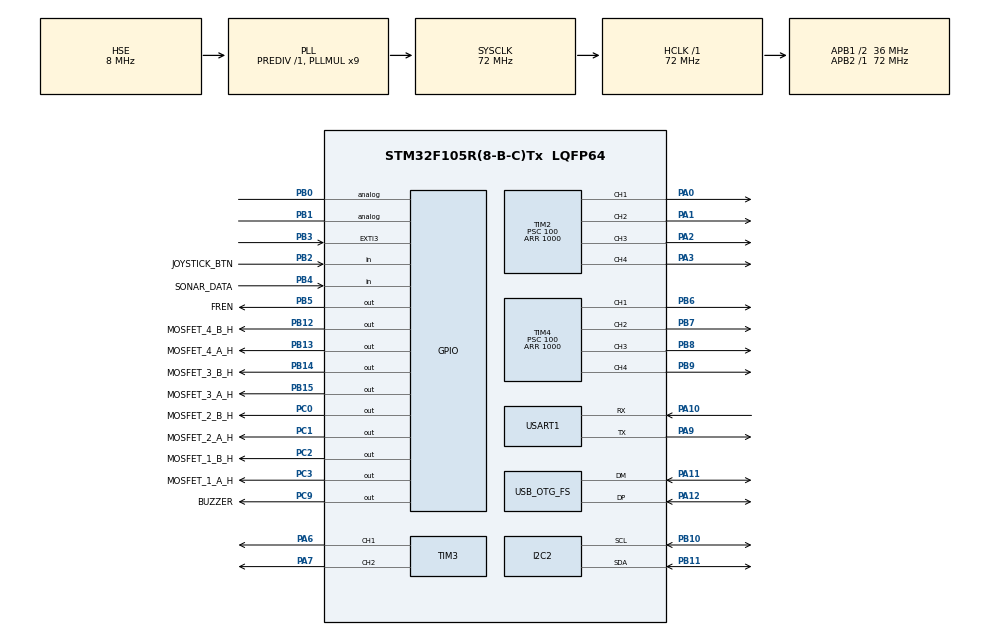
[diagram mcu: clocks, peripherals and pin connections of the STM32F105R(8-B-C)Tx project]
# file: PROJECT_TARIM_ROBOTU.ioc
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Mcu.Family=STM32F1
Mcu.Name=STM32F105R(8-B-C)Tx
Mcu.Package=LQFP64
NVIC.OTG_FS_IRQn=true\:0\:0\:false\:false\:true\:false\:true\:true
NVIC.PriorityGroup=NVIC_PRIORITYGROUP_4
PA0-WKUP.Signal=S_TIM2_CH1_ETR
PA1.Signal=S_TIM2_CH2
PA10.Mode=Asynchronous
PA10.Signal=USART1_RX
PA11.Mode=Device_Only
PA11.Signal=USB_OTG_FS_DM
PA12.Mode=Device_Only
PA12.Signal=USB_OTG_FS_DP
PA13.Mode=Serial_Wire
PA13.Signal=SYS_JTMS-SWDIO
PA14.Mode=Serial_Wire
PA14.Signal=SYS_JTCK-SWCLK
PA2.Signal=S_TIM2_CH3
PA3.Signal=S_TIM2_CH4
PA6.Signal=S_TIM3_CH1
PA7.Signal=S_TIM3_CH2
PA9.Mode=Asynchronous
PA9.Signal=USART1_TX
PB0.Signal=GPIO_Analog
PB1.Signal=GPIO_Analog
PB10.Mode=I2C
PB10.Signal=I2C2_SCL
PB11.Mode=I2C
PB11.Signal=I2C2_SDA
PB12.GPIO_Label=MOSFET_4_B_H
PB12.Signal=GPIO_Output
PB13.GPIO_Label=MOSFET_4_A_H
PB13.Signal=GPIO_Output
PB14.GPIO_Label=MOSFET_3_B_H
PB14.Signal=GPIO_Output
PB15.GPIO_Label=MOSFET_3_A_H
PB15.Signal=GPIO_Output
PB2.GPIO_Label=JOYSTICK_BTN
PB2.Signal=GPIO_Input
PB3.Signal=GPXTI3
PB4.GPIO_Label=SONAR_DATA
PB4.Signal=GPIO_Input
PB5.GPIO_Label=FREN
PB5.Signal=GPIO_Output
PB6.Signal=S_TIM4_CH1
PB7.Signal=S_TIM4_CH2
PB8.Signal=S_TIM4_CH3
PB9.Signal=S_TIM4_CH4
PC0.GPIO_Label=MOSFET_2_B_H
PC0.Signal=GPIO_Output
PC1.GPIO_Label=MOSFET_2_A_H
PC1.Signal=GPIO_Output
PC2.GPIO_Label=MOSFET_1_B_H
PC2.Signal=GPIO_Output
PC3.GPIO_Label=MOSFET_1_A_H
PC3.Signal=GPIO_Output
PC9.GPIO_Label=BUZZER
PC9.Signal=GPIO_Output
PD0-OSC_IN.Mode=HSE-External-Oscillator
PD0-OSC_IN.Signal=RCC_OSC_IN
PD1-OSC_OUT.Mode=HSE-External-Oscillator
PD1-OSC_OUT.Signal=RCC_OSC_OUT
ProjectManager.HeapSize=0x200
ProjectManager.StackSize=0x400
ProjectManager.TargetToolchain=STM32CubeIDE
RCC.AHBFreq_Value=72000000
RCC.APB1CLKDivider=RCC_HCLK_DIV2
RCC.APB1Freq_Value=36000000
RCC.APB1TimFreq_Value=72000000
RCC.APB2Freq_Value=72000000
RCC.APB2TimFreq_Value=72000000
RCC.HCLKFreq_Value=72000000
RCC.PLLMUL=RCC_PLL_MUL9
RCC.SYSCLKFreq_VALUE=72000000
RCC.SYSCLKSource=RCC_SYSCLKSOURCE_PLLCLK
RCC.USBFreq_Value=48000000
SH.S_TIM2_CH1_ETR.0=TIM2_CH1,PWM Generation1 CH1
SH.S_TIM2_CH2.0=TIM2_CH2,PWM Generation2 CH2
SH.S_TIM2_CH3.0=TIM2_CH3,PWM Generation3 CH3
SH.S_TIM2_CH4.0=TIM2_CH4,PWM Generation4 CH4
SH.S_TIM3_CH1.0=TIM3_CH1,PWM Generation1 CH1
SH.S_TIM3_CH2.0=TIM3_CH2,PWM Generation2 CH2
SH.S_TIM4_CH1.0=TIM4_CH1,PWM Generation1 CH1
SH.S_TIM4_CH2.0=TIM4_CH2,PWM Generation2 CH2
SH.S_TIM4_CH3.0=TIM4_CH3,PWM Generation3 CH3
SH.S_TIM4_CH4.0=TIM4_CH4,PWM Generation4 CH4
TIM2.AutoReloadPreload=TIM_AUTORELOAD_PRELOAD_ENABLE
TIM2.Channel-PWM\ Generation1\ CH1=TIM_CHANNEL_1
TIM2.Channel-PWM\ Generation2\ CH2=TIM_CHANNEL_2
TIM2.Channel-PWM\ Generation3\ CH3=TIM_CHANNEL_3
TIM2.Channel-PWM\ Generation4\ CH4=TIM_CHANNEL_4
TIM2.Period=1000
TIM2.Prescaler=100
TIM3.Channel-PWM\ Generation1\ CH1=TIM_CHANNEL_1
TIM3.Channel-PWM\ Generation2\ CH2=TIM_CHANNEL_2
TIM4.AutoReloadPreload=TIM_AUTORELOAD_PRELOAD_ENABLE
TIM4.Channel-PWM\ Generation1\ CH1=TIM_CHANNEL_1
TIM4.Channel-PWM\ Generation2\ CH2=TIM_CHANNEL_2
TIM4.Channel-PWM\ Generation3\ CH3=TIM_CHANNEL_3
TIM4.Channel-PWM\ Generation4\ CH4=TIM_CHANNEL_4
TIM4.Period=1000
TIM4.Prescaler=100
USART1.VirtualMode=VM_ASYNC
USB_DEVICE.CLASS_NAME_FS=CDC
USB_DEVICE.VirtualMode=Cdc
USB_DEVICE.VirtualModeFS=Cdc_FS
USB_OTG_FS.VirtualMode=Device_Only
VP_USB_DEVICE_VS_USB_DEVICE_CDC_FS.Mode=CDC_FS
board=custom

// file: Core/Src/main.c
/* USER CODE BEGIN Header */
/**
  ******************************************************************************
  * @file           : main.c
  * @brief          : Main program body
  ******************************************************************************
  * @attention
  *
  * Copyright (c) 2024 STMicroelectronics.
  * All rights reserved.
  *
  * This software is licensed under terms that can be found in the LICENSE file
  * in the root directory of this software component.
  * If no LICENSE file comes with this software, it is provided AS-IS.
  *
  ******************************************************************************
  */
/* USER CODE END Header */
#include "main.h"
#include "usb_device.h"

/* USER CODE BEGIN Includes */
#include "usbd_cdc_if.h"
#include <stdbool.h>
/* USER CODE END Includes */

I2C_HandleTypeDef hi2c2;

TIM_HandleTypeDef htim2;
TIM_HandleTypeDef htim3;
TIM_HandleTypeDef htim4;

UART_HandleTypeDef huart1;

void SystemClock_Config(void);
static void MX_GPIO_Init(void);
static void MX_TIM2_Init(void);
static void MX_TIM3_Init(void);
static void MX_TIM4_Init(void);
static void MX_I2C2_Init(void);
static void MX_USART1_UART_Init(void);
/* USER CODE BEGIN PFP */
uint16_t createModbusQuery(uint8_t slaveAddr, uint16_t startAddr, uint16_t registerCount, uint8_t *buffer);

void HAL_UART_RxCpltCallback(UART_HandleTypeDef *huart);

void printBuffer(uint8_t *buffer, uint16_t length, const char *label);
void CDC_Transmit_String(char* string);
uint16_t calculateCRC(uint8_t *buffer, uint16_t length);

/* USER CODE END PFP */

/* USER CODE BEGIN 0 */
#define MAX_PWM  300
#define CHIP_ID 0x00
#define ACCEL_DATA 0x08
#define BNO055_ID 0xa0
#define START_BYTE_WR 0xaa
#define START_BYTE_RESP 0xbb
#define READ 0x01
#define WRITE 0x00
#define OPER_MODE 0x3d
#define OPER_MODE_NDOF 0x0C
#define PWR_MODE 0x3e
#define PWR_MODE_NORMAL 0x00
#define PAGE_ID 0x07
#define SYS_TRIGGER 0x3f
#define UNIT_SEL 0x3b
#define AXIS_MAP_CONFIG 0x41
#define AXIS_MAP_SIGN 0x42

typedef struct {
    double kp;
    double ki;
    double kd;
    double integral;
    double prev_error;
} PIDController;

// Function to initialize the PIDController
void PIDController_init(PIDController *pid, double kp, double ki, double kd) {
    pid->kp = kp;
    pid->ki = ki;
    pid->kd = kd;
    pid->integral = 0.0;
    pid->prev_error = 0.0;
}

// Function to update the PIDController
double Controller_update(PIDController *pid, double actual, double target, double dt) {
    double error = target - actual;
    double derivative = (error - pid->prev_error) / dt;
    pid->integral += error * dt;
    pid->prev_error = error;

    // Calculate the control signal
    double control_signal = pid->kp * error + pid->ki * pid->integral + pid->kd * derivative;

    // Limit the change to a maximum adjustment per update for smooth transition
    double max_change = 1.0; // Define maximum change per update
    if (control_signal > max_change) {
        control_signal = max_change;
    } else if (control_signal < -max_change) {
        control_signal = -max_change;
    }

    // Update the actual value smoothly
    actual += control_signal;

    return actual;
}

static const uint16_t crcTable[256] = {
    // CRC16-Modbus table
    0x0000, 0xC0C1, 0xC181, 0x0140, 0xC301, 0x03C0, 0x0280, 0xC241,
    0xC601, 0x06C0, 0x0780, 0xC741, 0x0500, 0xC5C1, 0xC481, 0x0440,
    0xCC01, 0x0CC0, 0x0D80, 0xCD41, 0x0F00, 0xCFC1, 0xCE81, 0x0E40,
    0x0A00, 0xCAC1, 0xCB81, 0x0B40, 0xC901, 0x09C0, 0x0880, 0xC841,
    0xD801, 0x18C0, 0x1980, 0xD941, 0x1B00, 0xDBC1, 0xDA81, 0x1A40,
    0x1E00, 0xDEC1, 0xDF81, 0x1F40, 0xDD01, 0x1DC0, 0x1C80, 0xDC41,
    0x1400, 0xD4C1, 0xD581, 0x1540, 0xD701, 0x17C0, 0x1680, 0xD641,
    0xD201, 0x12C0, 0x1380, 0xD341, 0x1100, 0xD1C1, 0xD081, 0x1040,
    0xF001, 0x30C0, 0x3180, 0xF141, 0x3300, 0xF3C1, 0xF281, 0x3240,
    0x3600, 0xF6C1, 0xF781, 0x3740, 0xF501, 0x35C0, 0x3480, 0xF441,
    0x3C00, 0xFCC1, 0xFD81, 0x3D40, 0xFF01, 0x3FC0, 0x3E80, 0xFE41,
    0xFA01, 0x3AC0, 0x3B80, 0xFB41, 0x3900, 0xF9C1, 0xF881, 0x3840,
    0x2800, 0xE8C1, 0xE981, 0x2940, 0xEB01, 0x2BC0, 0x2A80, 0xEA41,
    0xEE01, 0x2EC0, 0x2F80, 0xEF41, 0x2D00, 0xEDC1, 0xEC81, 0x2C40,
    0xE401, 0x24C0, 0x2580, 0xE541, 0x2700, 0xE7C1, 0xE681, 0x2640,
    0x2200, 0xE2C1, 0xE381, 0x2340, 0xE101, 0x21C0, 0x2080, 0xE041,
    0xA001, 0x60C0, 0x6180, 0xA141, 0x6300, 0xA3C1, 0xA281, 0x6240,
    0x6600, 0xA6C1, 0xA781, 0x6740, 0xA501, 0x65C0, 0x6480, 0xA441,
    0x6C00, 0xACC1, 0xAD81, 0x6D40, 0xAF01, 0x6FC0, 0x6E80, 0xAE41,
    0xAA01, 0x6AC0, 0x6B80, 0xAB41, 0x6900, 0xA9C1, 0xA881, 0x6840,
    0x7800, 0xB8C1, 0xB981, 0x7940, 0xBB01, 0x7BC0, 0x7A80, 0xBA41,
    0xBE01, 0x7EC0, 0x7F80, 0xBF41, 0x7D00, 0xBDC1, 0xBC81, 0x7C40,
    0xB401, 0x74C0, 0x7580, 0xB541, 0x7700, 0xB7C1, 0xB681, 0x7640,
    0x7200, 0xB2C1, 0xB381, 0x7340, 0xB101, 0x71C0, 0x7080, 0xB041,
    0x5000, 0x90C1, 0x9181, 0x5140, 0x9301, 0x53C0, 0x5280, 0x9241,
    0x9601, 0x56C0, 0x5780, 0x9741, 0x5500, 0x95C1, 0x9481, 0x5440,
    0x9C01, 0x5CC0, 0x5D80, 0x9D41, 0x5F00, 0x9FC1, 0x9E81, 0x5E40,
    0x5A00, 0x9AC1, 0x9B81, 0x5B40, 0x9901, 0x59C0, 0x5880, 0x9841,
    0x8801, 0x48C0, 0x4980, 0x8941, 0x4B00, 0x8BC1, 0x8A81, 0x4A40,
    0x4E00, 0x8EC1, 0x8F81, 0x4F40, 0x8D01, 0x4DC0, 0x4C80, 0x8C41,
    0x4400, 0x84C1, 0x8581, 0x4540, 0x8701, 0x47C0, 0x4680, 0x8641,
    0x8201, 0x42C0, 0x4380, 0x8341, 0x4100, 0x81C1, 0x8081, 0x4040
};

typedef struct {
    uint16_t data[128];
} ModbusDevice;

ModbusDevice modbusDevices[15];
#define ROM_START_ADDRESS 0x08010000
#define PAGE_SIZE ((uint32_t)FLASH_PAGE_SIZE)
#define PACKET_SIZE sizeof(ModbusDevice)

/* CRC Calculation Function */
uint16_t calculateCRC(uint8_t *buffer, uint16_t length) {
    uint16_t crc = 0xFFFF;
    for (int i = 0; i < length; ++i) {
        crc = (crc >> 8) ^ crcTable[(crc & 0xFF) ^ buffer[i]];
    }
    return crc;
}

/* UART Receive Complete Callback */

/* Transmit String over USB CDC */
void CDC_Transmit_String(char* string) {
    CDC_Transmit_FS((uint8_t*)string, strlen(string));
}

uint16_t length = 0;
uint16_t function_code = 0;
uint8_t new_data_received = 0;
uint8_t fren = 0;
uint8_t motor = 0;
uint16_t value[4] = {0} ;
uint8_t number_of_bytes = 0;
uint16_t target_vel= 0;
uint16_t starting_address = 0;
uint8_t slave_address = 0;
uint16_t crc = 0xFFFF;
uint16_t default_pwm = 1005;
void CDC_ReceiveCallback(uint8_t *buf, uint32_t len) {
    // Callback function called when data is received over USB

    slave_address = buf[0];
    function_code = buf[1];
    starting_address = (buf[2] << 8) | buf[3];
    length = (buf[4] << 8) | buf[5];
    new_data_received = 1;
    crc = calculateCRC(buf, len);

    if (function_code == 16 && len >= 9 + length) {
    	number_of_bytes= buf[6];
        for (uint8_t i = 0; i < number_of_bytes; i+=2) {
            value[i/2] =(buf[7+i] << 8) | buf[8+i];
        }
    }
}

void initialize_device(uint8_t slave_address) {
    for (uint16_t i = 0; i < 300; i++) {
        modbusDevices[slave_address].data[i] = 0;
    }
}

void write_command(uint8_t slave_address, uint16_t starting_address, uint16_t length) {
	modbusDevices[slave_address].data[starting_address] = length;
	target_vel = length;
}
void write_multiple_command(uint8_t slave_address, uint16_t starting_address, uint16_t length, uint16_t* value) {
    for (uint16_t i = 0; i < number_of_bytes/2; i++) {
        modbusDevices[slave_address].data[starting_address + i] = value[i];
        //CDC_Transmit_FS(modbusDevices[slave_address].data, 10);
    }

}
void read_command(uint8_t slave_address, uint16_t starting_address, uint16_t length, uint16_t crc) {
    uint8_t response[128] = {0};
    uint8_t response_length = 3 + length * 2 + 2;
    if (starting_address + length <= 128) {
        response[0] = slave_address;
        response[1] = 0x03;
        response[2] = length * 2;

        for (uint8_t i = 0; i < length; i++) {
            response[3 + i * 2] = modbusDevices[slave_address].data[starting_address + i] >> 8;
            response[3 + i * 2 + 1] = modbusDevices[slave_address].data[starting_address + i] & 0xFF;
        }

        crc = calculateCRC(response, response_length - 2);
        response[response_length - 2] = crc & 0xFF;
        response[response_length - 1] = crc >> 8;

        CDC_Transmit_FS(response, response_length);
    }
}
uint16_t update_velocity(uint16_t current_velocity, uint16_t target_velocity, double alpha) {
    double current = (double)current_velocity;
    double target = (double)target_velocity;
    double updated = alpha * target + (1.0 - alpha) * current;

    // If the updated value is close enough to the target, set it to the target

    return (uint16_t)updated;
}

/*

OUTS
mosfet_1_A_H
mosfet_1_B_H
mosfet_2_A_H
mosfet_2_B_H
mosfet_3_A_H
mosfet_3_B_H
mosfet_4_A_H
mosfet_4_B_H

PWMS
mosfet_1_A_L	 Timer 2 Channel 1
mosfet_1_B_L	 Timer 2 Channel 2
mosfet_2_A_L	 Timer 2 Channel 3
mosfet_2_B_L	 Timer 2 Channel 4
mosfet_3_A_L	 Timer 4 Channel 1
mosfet_3_B_L	 Timer 4 Channel 2
mosfet_4_A_L	 Timer 4 Channel 3
mosfet_4_B_L	 Timer 4 Channel 4
*/

bool user_pwm_setvalue_mosfet4(int16_t new_target_value, int16_t limit) {
    static int16_t previous_value = 0;
    int16_t step_size = 2;

    new_target_value = modbusDevices[01].data[0] * 2 - limit;
    new_target_value = (new_target_value < limit) ? new_target_value : limit;
    new_target_value = (new_target_value > -limit) ? new_target_value : -limit;
    if(previous_value == new_target_value){
    	return false;
    }
    int16_t difference = new_target_value - previous_value;

    if (difference > step_size) {
        previous_value += step_size;
    } else if (difference < -step_size) {
        previous_value -= step_size;
    } else {
        previous_value = new_target_value;
    }

    if (modbusDevices[01].data[0] == 0) {
        previous_value = 0;
    }

    int16_t pwm_value = previous_value;
    pwm_value = (pwm_value < limit) ? pwm_value : limit;
    pwm_value = (pwm_value > -limit) ? pwm_value : -limit;

    if (pwm_value > 0) {
        HAL_GPIO_WritePin(MOSFET_4_A_H_GPIO_Port, MOSFET_4_A_H_Pin, 0);
        HAL_GPIO_WritePin(MOSFET_4_B_H_GPIO_Port, MOSFET_4_B_H_Pin, 1);
    } else if (pwm_value < 0) {
        HAL_GPIO_WritePin(MOSFET_4_A_H_GPIO_Port, MOSFET_4_A_H_Pin, 1);
        HAL_GPIO_WritePin(MOSFET_4_B_H_GPIO_Port, MOSFET_4_B_H_Pin, 0);
    } else {
        HAL_GPIO_WritePin(MOSFET_4_A_H_GPIO_Port, MOSFET_4_A_H_Pin, 0);
        HAL_GPIO_WritePin(MOSFET_4_B_H_GPIO_Port, MOSFET_4_B_H_Pin, 0);
    }

    TIM_OC_InitTypeDef sConfigOC;
    sConfigOC.OCMode = TIM_OCMODE_PWM1;
    sConfigOC.OCPolarity = TIM_OCPOLARITY_HIGH;
    sConfigOC.OCFastMode = TIM_OCFAST_DISABLE;
    sConfigOC.Pulse = (pwm_value > 0) ? default_pwm : -pwm_value;

    HAL_TIM_PWM_ConfigChannel(&htim4, &sConfigOC, TIM_CHANNEL_3);
    HAL_TIM_PWM_Start(&htim4, TIM_CHANNEL_3);

    TIM_OC_InitTypeDef sConfigOC2;
    sConfigOC2.OCMode = TIM_OCMODE_PWM1;
    sConfigOC2.OCPolarity = TIM_OCPOLARITY_HIGH;
    sConfigOC2.OCFastMode = TIM_OCFAST_DISABLE;
    sConfigOC2.Pulse = (pwm_value >= 0) ? pwm_value : default_pwm;

    HAL_TIM_PWM_ConfigChannel(&htim4, &sConfigOC2, TIM_CHANNEL_4);
    HAL_TIM_PWM_Start(&htim4, TIM_CHANNEL_4);

    modbusDevices[01].data[4] = pwm_value + 300;
    return previous_value != new_target_value;
}

bool user_pwm_setvalue_mosfet3(int16_t new_target_value, int16_t limit) {
    static int16_t previous_value = 0;
    int16_t step_size = 2;

    new_target_value = modbusDevices[01].data[1] * 2 - limit;
    new_target_value = (new_target_value < limit) ? new_target_value : limit;
    new_target_value = (new_target_value > -limit) ? new_target_value : -limit;
    if(previous_value == new_target_value){
        return false;
    }
    int16_t difference = new_target_value - previous_value;

    if (difference > step_size) {
        previous_value += step_size;
    } else if (difference < -step_size) {
        previous_value -= step_size;
    } else {
        previous_value = new_target_value;
    }

    if (modbusDevices[01].data[1] == 0) {
        previous_value = 0;
    }

    int16_t pwm_value = previous_value;
    pwm_value = (pwm_value < limit) ? pwm_value : limit;
    pwm_value = (pwm_value > -limit) ? pwm_value : -limit;

    if (pwm_value > 0) {
        HAL_GPIO_WritePin(MOSFET_3_A_H_GPIO_Port, MOSFET_3_A_H_Pin, 0);
        HAL_GPIO_WritePin(MOSFET_3_B_H_GPIO_Port, MOSFET_3_B_H_Pin, 1);
    } else if (pwm_value < 0) {
        HAL_GPIO_WritePin(MOSFET_3_A_H_GPIO_Port, MOSFET_3_A_H_Pin, 1);
        HAL_GPIO_WritePin(MOSFET_3_B_H_GPIO_Port, MOSFET_3_B_H_Pin, 0);
    } else {
        HAL_GPIO_WritePin(MOSFET_3_A_H_GPIO_Port, MOSFET_3_A_H_Pin, 0);
        HAL_GPIO_WritePin(MOSFET_3_B_H_GPIO_Port, MOSFET_3_B_H_Pin, 0);
    }

    TIM_OC_InitTypeDef sConfigOC;
    sConfigOC.OCMode = TIM_OCMODE_PWM1;
    sConfigOC.OCPolarity = TIM_OCPOLARITY_HIGH;
    sConfigOC.OCFastMode = TIM_OCFAST_DISABLE;
    sConfigOC.Pulse = (pwm_value > 0) ? default_pwm : -pwm_value;

    HAL_TIM_PWM_ConfigChannel(&htim4, &sConfigOC, TIM_CHANNEL_1);
    HAL_TIM_PWM_Start(&htim4, TIM_CHANNEL_1);

    TIM_OC_InitTypeDef sConfigOC2;
    sConfigOC2.OCMode = TIM_OCMODE_PWM1;
    sConfigOC2.OCPolarity = TIM_OCPOLARITY_HIGH;
    sConfigOC2.OCFastMode = TIM_OCFAST_DISABLE;
    sConfigOC2.Pulse = (pwm_value >= 0) ? pwm_value : default_pwm;

    HAL_TIM_PWM_ConfigChannel(&htim4, &sConfigOC2, TIM_CHANNEL_2);
    HAL_TIM_PWM_Start(&htim4, TIM_CHANNEL_2);

    modbusDevices[01].data[5] = pwm_value + 300;
    return previous_value != new_target_value;
}

bool user_pwm_setvalue_mosfet1(int16_t new_target_value, int16_t limit) {
    static int16_t previous_value = 0;
    int16_t step_size = 2;

    new_target_value = modbusDevices[01].data[3] * 2 - limit;
    new_target_value = (new_target_value < limit) ? new_target_value : limit;
    new_target_value = (new_target_value > -limit) ? new_target_value : -limit;
    if(previous_value == new_target_value){
        return false;
    }
    int16_t difference = new_target_value - previous_value;

    if (difference > step_size) {
        previous_value += step_size;
    } else if (difference < -step_size) {
        previous_value -= step_size;
    } else {
        previous_value = new_target_value;
    }

    if (modbusDevices[01].data[3] == 0) {
        previous_value = 0;
    }

    int16_t pwm_value = previous_value;
    pwm_value = (pwm_value < limit) ? pwm_value : limit;
    pwm_value = (pwm_value > -limit) ? pwm_value : -limit;

    if (pwm_value > 0) {
        HAL_GPIO_WritePin(MOSFET_1_A_H_GPIO_Port, MOSFET_1_A_H_Pin, 0);
        HAL_GPIO_WritePin(MOSFET_1_B_H_GPIO_Port, MOSFET_1_B_H_Pin, 1);
    } else if (pwm_value < 0) {
        HAL_GPIO_WritePin(MOSFET_1_A_H_GPIO_Port, MOSFET_1_A_H_Pin, 1);
        HAL_GPIO_WritePin(MOSFET_1_B_H_GPIO_Port, MOSFET_1_B_H_Pin, 0);
    } else {
        HAL_GPIO_WritePin(MOSFET_1_A_H_GPIO_Port, MOSFET_1_A_H_Pin, 0);
        HAL_GPIO_WritePin(MOSFET_1_B_H_GPIO_Port, MOSFET_1_B_H_Pin, 0);
    }

    TIM_OC_InitTypeDef sConfigOC;
    sConfigOC.OCMode = TIM_OCMODE_PWM1;
    sConfigOC.OCPolarity = TIM_OCPOLARITY_HIGH;
    sConfigOC.OCFastMode = TIM_OCFAST_DISABLE;
    sConfigOC.Pulse = (pwm_value > 0) ? default_pwm : -pwm_value;

    HAL_TIM_PWM_ConfigChannel(&htim2, &sConfigOC, TIM_CHANNEL_1);
    HAL_TIM_PWM_Start(&htim2, TIM_CHANNEL_1);

    TIM_OC_InitTypeDef sConfigOC2;
    sConfigOC2.OCMode = TIM_OCMODE_PWM1;
    sConfigOC2.OCPolarity = TIM_OCPOLARITY_HIGH;
    sConfigOC2.OCFastMode = TIM_OCFAST_DISABLE;
    sConfigOC2.Pulse = (pwm_value >= 0) ? pwm_value : default_pwm;

    HAL_TIM_PWM_ConfigChannel(&htim2, &sConfigOC2, TIM_CHANNEL_2);
    HAL_TIM_PWM_Start(&htim2, TIM_CHANNEL_2);

    modbusDevices[01].data[7] = pwm_value + 300;
    return previous_value != new_target_value;
}

bool user_pwm_setvalue_mosfet2(int16_t new_target_value, int16_t limit) {
    static int16_t previous_value = 0;
    int16_t step_size = 2;

    new_target_value = modbusDevices[01].data[2] * 2 - limit;
    new_target_value = (new_target_value < limit) ? new_target_value : limit;
    new_target_value = (new_target_value > -limit) ? new_target_value : -limit;
    if(previous_value == new_target_value){
        return false;
    }
    int16_t difference = new_target_value - previous_value;

    if (difference > step_size) {
        previous_value += step_size;
    } else if (difference < -step_size) {
        previous_value -= step_size;
    } else {
        previous_value = new_target_value;
    }

    if (modbusDevices[01].data[2] == 0) {
        previous_value = 0;
    }

    int16_t pwm_value = previous_value;
    pwm_value = (pwm_value < limit) ? pwm_value : limit;
    pwm_value = (pwm_value > -limit) ? pwm_value : -limit;

    if (pwm_value > 0) {
        HAL_GPIO_WritePin(MOSFET_2_A_H_GPIO_Port, MOSFET_2_A_H_Pin, 0);
        HAL_GPIO_WritePin(MOSFET_2_B_H_GPIO_Port, MOSFET_2_B_H_Pin, 1);
    } else if (pwm_value < 0) {
        HAL_GPIO_WritePin(MOSFET_2_A_H_GPIO_Port, MOSFET_2_A_H_Pin, 1);
        HAL_GPIO_WritePin(MOSFET_2_B_H_GPIO_Port, MOSFET_2_B_H_Pin, 0);
    } else {
        HAL_GPIO_WritePin(MOSFET_2_A_H_GPIO_Port, MOSFET_2_A_H_Pin, 0);
        HAL_GPIO_WritePin(MOSFET_2_B_H_GPIO_Port, MOSFET_2_B_H_Pin, 0);
    }

    TIM_OC_InitTypeDef sConfigOC;
    sConfigOC.OCMode = TIM_OCMODE_PWM1;
    sConfigOC.OCPolarity = TIM_OCPOLARITY_HIGH;
    sConfigOC.OCFastMode = TIM_OCFAST_DISABLE;
    sConfigOC.Pulse = (pwm_value > 0) ? default_pwm : -pwm_value;

    HAL_TIM_PWM_ConfigChannel(&htim2, &sConfigOC, TIM_CHANNEL_3);
    HAL_TIM_PWM_Start(&htim2, TIM_CHANNEL_3);

    TIM_OC_InitTypeDef sConfigOC2;
    sConfigOC2.OCMode = TIM_OCMODE_PWM1;
    sConfigOC2.OCPolarity = TIM_OCPOLARITY_HIGH;
    sConfigOC2.OCFastMode = TIM_OCFAST_DISABLE;
    sConfigOC2.Pulse = (pwm_value >= 0) ? pwm_value : default_pwm;

    HAL_TIM_PWM_ConfigChannel(&htim2, &sConfigOC2, TIM_CHANNEL_4);
    HAL_TIM_PWM_Start(&htim2, TIM_CHANNEL_4);

    modbusDevices[01].data[6] = pwm_value + 300;
    return previous_value != new_target_value;
}

/* USER CODE END 0 */

int main(void)
{

  /* MCU Configuration--------------------------------------------------------*/

  /* Reset of all peripherals, Initializes the Flash interface and the Systick. */
  HAL_Init();

  /* Configure the system clock */
  SystemClock_Config();

  /* Initialize all configured peripherals */
  MX_GPIO_Init();
  MX_TIM2_Init();
  MX_TIM3_Init();
  MX_TIM4_Init();
  MX_I2C2_Init();
  MX_USART1_UART_Init();
  MX_USB_DEVICE_Init();
  /* USER CODE BEGIN 2 */
  initialize_device(1);
  PIDController controller;
  PIDController_init(&controller, 2.5, 0.1, 0.01);
  uint8_t velocity= 0;
  uint16_t limit= 600;
  HAL_GPIO_WritePin(FREN_GPIO_Port, FREN_Pin, 1);
  fren = 1;
  /* USER CODE END 2 */

  /* Infinite loop */
  /* USER CODE BEGIN WHILE */

  while (1) {//loopp

	  //velocity = update_vexlocity(velocity, target_vel, alpha);
	  //HAL_Delay(100);

	  user_pwm_setvalue_mosfet1(velocity,limit);
	  user_pwm_setvalue_mosfet2(velocity,limit);
	  user_pwm_setvalue_mosfet3(velocity,limit);
	  user_pwm_setvalue_mosfet4(velocity,limit);
      if (new_data_received) {
    	  if(function_code == 6) {
    		  write_command(slave_address, starting_address, length);
          } else if(function_code == 16) {
        	  write_multiple_command(slave_address, starting_address, length,value);
          }else {
        	  read_command(slave_address, starting_address, length, crc);
    	  }
          new_data_received = 0;
      }
      HAL_Delay(10);
  }
    /* USER CODE END WHILE */

}

void SystemClock_Config(void)
{
  RCC_OscInitTypeDef RCC_OscInitStruct = {0};
  RCC_ClkInitTypeDef RCC_ClkInitStruct = {0};
  RCC_PeriphCLKInitTypeDef PeriphClkInit = {0};

  /** Initializes the RCC Oscillators according to the specified parameters
  * in the RCC_OscInitTypeDef structure.
  */
  RCC_OscInitStruct.OscillatorType = RCC_OSCILLATORTYPE_HSE;
  RCC_OscInitStruct.HSEState = RCC_HSE_ON;
  RCC_OscInitStruct.HSEPredivValue = RCC_HSE_PREDIV_DIV1;
  RCC_OscInitStruct.HSIState = RCC_HSI_ON;
  RCC_OscInitStruct.Prediv1Source = RCC_PREDIV1_SOURCE_HSE;
  RCC_OscInitStruct.PLL.PLLState = RCC_PLL_ON;
  RCC_OscInitStruct.PLL.PLLSource = RCC_PLLSOURCE_HSE;
  RCC_OscInitStruct.PLL.PLLMUL = RCC_PLL_MUL9;
  RCC_OscInitStruct.PLL2.PLL2State = RCC_PLL_NONE;
  if (HAL_RCC_OscConfig(&RCC_OscInitStruct) != HAL_OK)
  {
    Error_Handler();
  }

  /** Initializes the CPU, AHB and APB buses clocks
  */
  RCC_ClkInitStruct.ClockType = RCC_CLOCKTYPE_HCLK|RCC_CLOCKTYPE_SYSCLK
                              |RCC_CLOCKTYPE_PCLK1|RCC_CLOCKTYPE_PCLK2;
  RCC_ClkInitStruct.SYSCLKSource = RCC_SYSCLKSOURCE_PLLCLK;
  RCC_ClkInitStruct.AHBCLKDivider = RCC_SYSCLK_DIV1;
  RCC_ClkInitStruct.APB1CLKDivider = RCC_HCLK_DIV2;
  RCC_ClkInitStruct.APB2CLKDivider = RCC_HCLK_DIV1;

  if (HAL_RCC_ClockConfig(&RCC_ClkInitStruct, FLASH_LATENCY_2) != HAL_OK)
  {
    Error_Handler();
  }
  PeriphClkInit.PeriphClockSelection = RCC_PERIPHCLK_USB;
  PeriphClkInit.UsbClockSelection = RCC_USBCLKSOURCE_PLL_DIV3;
  if (HAL_RCCEx_PeriphCLKConfig(&PeriphClkInit) != HAL_OK)
  {
    Error_Handler();
  }

  /** Configure the Systick interrupt time
  */
  __HAL_RCC_PLLI2S_ENABLE();
}

static void MX_I2C2_Init(void)
{

  hi2c2.Instance = I2C2;
  hi2c2.Init.ClockSpeed = 100000;
  hi2c2.Init.DutyCycle = I2C_DUTYCYCLE_2;
  hi2c2.Init.OwnAddress1 = 0;
  hi2c2.Init.AddressingMode = I2C_ADDRESSINGMODE_7BIT;
  hi2c2.Init.DualAddressMode = I2C_DUALADDRESS_DISABLE;
  hi2c2.Init.OwnAddress2 = 0;
  hi2c2.Init.GeneralCallMode = I2C_GENERALCALL_DISABLE;
  hi2c2.Init.NoStretchMode = I2C_NOSTRETCH_DISABLE;
  if (HAL_I2C_Init(&hi2c2) != HAL_OK)
  {
    Error_Handler();
  }

}

static void MX_TIM2_Init(void)
{

  TIM_MasterConfigTypeDef sMasterConfig = {0};
  TIM_OC_InitTypeDef sConfigOC = {0};

  htim2.Instance = TIM2;
  htim2.Init.Prescaler = 100;
  htim2.Init.CounterMode = TIM_COUNTERMODE_UP;
  htim2.Init.Period = 1000;
  htim2.Init.ClockDivision = TIM_CLOCKDIVISION_DIV1;
  htim2.Init.AutoReloadPreload = TIM_AUTORELOAD_PRELOAD_ENABLE;
  if (HAL_TIM_PWM_Init(&htim2) != HAL_OK)
  {
    Error_Handler();
  }
  sMasterConfig.MasterOutputTrigger = TIM_TRGO_RESET;
  sMasterConfig.MasterSlaveMode = TIM_MASTERSLAVEMODE_DISABLE;
  if (HAL_TIMEx_MasterConfigSynchronization(&htim2, &sMasterConfig) != HAL_OK)
  {
    Error_Handler();
  }
  sConfigOC.OCMode = TIM_OCMODE_PWM1;
  sConfigOC.Pulse = 0;
  sConfigOC.OCPolarity = TIM_OCPOLARITY_HIGH;
  sConfigOC.OCFastMode = TIM_OCFAST_DISABLE;
  if (HAL_TIM_PWM_ConfigChannel(&htim2, &sConfigOC, TIM_CHANNEL_1) != HAL_OK)
  {
    Error_Handler();
  }
  if (HAL_TIM_PWM_ConfigChannel(&htim2, &sConfigOC, TIM_CHANNEL_2) != HAL_OK)
  {
    Error_Handler();
  }
  if (HAL_TIM_PWM_ConfigChannel(&htim2, &sConfigOC, TIM_CHANNEL_3) != HAL_OK)
  {
    Error_Handler();
  }
  if (HAL_TIM_PWM_ConfigChannel(&htim2, &sConfigOC, TIM_CHANNEL_4) != HAL_OK)
  {
    Error_Handler();
  }
  HAL_TIM_MspPostInit(&htim2);

}

static void MX_TIM3_Init(void)
{

  TIM_MasterConfigTypeDef sMasterConfig = {0};
  TIM_OC_InitTypeDef sConfigOC = {0};

  htim3.Instance = TIM3;
  htim3.Init.Prescaler = 0;
  htim3.Init.CounterMode = TIM_COUNTERMODE_UP;
  htim3.Init.Period = 65535;
  htim3.Init.ClockDivision = TIM_CLOCKDIVISION_DIV1;
  htim3.Init.AutoReloadPreload = TIM_AUTORELOAD_PRELOAD_DISABLE;
  if (HAL_TIM_PWM_Init(&htim3) != HAL_OK)
  {
    Error_Handler();
  }
  sMasterConfig.MasterOutputTrigger = TIM_TRGO_RESET;
  sMasterConfig.MasterSlaveMode = TIM_MASTERSLAVEMODE_DISABLE;
  if (HAL_TIMEx_MasterConfigSynchronization(&htim3, &sMasterConfig) != HAL_OK)
  {
    Error_Handler();
  }
  sConfigOC.OCMode = TIM_OCMODE_PWM1;
  sConfigOC.Pulse = 0;
  sConfigOC.OCPolarity = TIM_OCPOLARITY_HIGH;
  sConfigOC.OCFastMode = TIM_OCFAST_DISABLE;
  if (HAL_TIM_PWM_ConfigChannel(&htim3, &sConfigOC, TIM_CHANNEL_1) != HAL_OK)
  {
    Error_Handler();
  }
  if (HAL_TIM_PWM_ConfigChannel(&htim3, &sConfigOC, TIM_CHANNEL_2) != HAL_OK)
  {
    Error_Handler();
  }
  HAL_TIM_MspPostInit(&htim3);

}

static void MX_TIM4_Init(void)
{

  TIM_MasterConfigTypeDef sMasterConfig = {0};
  TIM_OC_InitTypeDef sConfigOC = {0};

  htim4.Instance = TIM4;
  htim4.Init.Prescaler = 100;
  htim4.Init.CounterMode = TIM_COUNTERMODE_UP;
  htim4.Init.Period = 1000;
  htim4.Init.ClockDivision = TIM_CLOCKDIVISION_DIV1;
  htim4.Init.AutoReloadPreload = TIM_AUTORELOAD_PRELOAD_ENABLE;
  if (HAL_TIM_PWM_Init(&htim4) != HAL_OK)
  {
    Error_Handler();
  }
  sMasterConfig.MasterOutputTrigger = TIM_TRGO_RESET;
  sMasterConfig.MasterSlaveMode = TIM_MASTERSLAVEMODE_DISABLE;
  if (HAL_TIMEx_MasterConfigSynchronization(&htim4, &sMasterConfig) != HAL_OK)
  {
    Error_Handler();
  }
  sConfigOC.OCMode = TIM_OCMODE_PWM1;
  sConfigOC.Pulse = 0;
  sConfigOC.OCPolarity = TIM_OCPOLARITY_HIGH;
  sConfigOC.OCFastMode = TIM_OCFAST_DISABLE;
  if (HAL_TIM_PWM_ConfigChannel(&htim4, &sConfigOC, TIM_CHANNEL_1) != HAL_OK)
  {
    Error_Handler();
  }
  if (HAL_TIM_PWM_ConfigChannel(&htim4, &sConfigOC, TIM_CHANNEL_2) != HAL_OK)
  {
    Error_Handler();
  }
  if (HAL_TIM_PWM_ConfigChannel(&htim4, &sConfigOC, TIM_CHANNEL_3) != HAL_OK)
  {
    Error_Handler();
  }
  if (HAL_TIM_PWM_ConfigChannel(&htim4, &sConfigOC, TIM_CHANNEL_4) != HAL_OK)
  {
    Error_Handler();
  }
  HAL_TIM_MspPostInit(&htim4);

}

static void MX_USART1_UART_Init(void)
{

  huart1.Instance = USART1;
  huart1.Init.BaudRate = 115200;
  huart1.Init.WordLength = UART_WORDLENGTH_8B;
  huart1.Init.StopBits = UART_STOPBITS_1;
  huart1.Init.Parity = UART_PARITY_NONE;
  huart1.Init.Mode = UART_MODE_TX_RX;
  huart1.Init.HwFlowCtl = UART_HWCONTROL_NONE;
  huart1.Init.OverSampling = UART_OVERSAMPLING_16;
  if (HAL_UART_Init(&huart1) != HAL_OK)
  {
    Error_Handler();
  }

}

static void MX_GPIO_Init(void)
{
  GPIO_InitTypeDef GPIO_InitStruct = {0};

  /* GPIO Ports Clock Enable */
  __HAL_RCC_GPIOD_CLK_ENABLE();
  __HAL_RCC_GPIOC_CLK_ENABLE();
  __HAL_RCC_GPIOA_CLK_ENABLE();
  __HAL_RCC_GPIOB_CLK_ENABLE();

  /*Configure GPIO pin Output Level */
  HAL_GPIO_WritePin(GPIOC, MOSFET_2_B_H_Pin|MOSFET_2_A_H_Pin|MOSFET_1_B_H_Pin|MOSFET_1_A_H_Pin
                          |BUZZER_Pin, GPIO_PIN_RESET);

  /*Configure GPIO pin Output Level */
  HAL_GPIO_WritePin(GPIOB, MOSFET_4_B_H_Pin|MOSFET_4_A_H_Pin|MOSFET_3_B_H_Pin|MOSFET_3_A_H_Pin
                          |FREN_Pin, GPIO_PIN_RESET);

  /*Configure GPIO pins : MOSFET_2_B_H_Pin MOSFET_2_A_H_Pin MOSFET_1_B_H_Pin MOSFET_1_A_H_Pin
                           BUZZER_Pin */
  GPIO_InitStruct.Pin = MOSFET_2_B_H_Pin|MOSFET_2_A_H_Pin|MOSFET_1_B_H_Pin|MOSFET_1_A_H_Pin
                          |BUZZER_Pin;
  GPIO_InitStruct.Mode = GPIO_MODE_OUTPUT_PP;
  GPIO_InitStruct.Pull = GPIO_NOPULL;
  GPIO_InitStruct.Speed = GPIO_SPEED_FREQ_LOW;
  HAL_GPIO_Init(GPIOC, &GPIO_InitStruct);

  /*Configure GPIO pins : PB0 PB1 */
  GPIO_InitStruct.Pin = GPIO_PIN_0|GPIO_PIN_1;
  GPIO_InitStruct.Mode = GPIO_MODE_ANALOG;
  HAL_GPIO_Init(GPIOB, &GPIO_InitStruct);

  /*Configure GPIO pins : JOYSTICK_BTN_Pin SONAR_DATA_Pin */
  GPIO_InitStruct.Pin = JOYSTICK_BTN_Pin|SONAR_DATA_Pin;
  GPIO_InitStruct.Mode = GPIO_MODE_INPUT;
  GPIO_InitStruct.Pull = GPIO_NOPULL;
  HAL_GPIO_Init(GPIOB, &GPIO_InitStruct);

  /*Configure GPIO pins : MOSFET_4_B_H_Pin MOSFET_4_A_H_Pin MOSFET_3_B_H_Pin MOSFET_3_A_H_Pin
                           FREN_Pin */
  GPIO_InitStruct.Pin = MOSFET_4_B_H_Pin|MOSFET_4_A_H_Pin|MOSFET_3_B_H_Pin|MOSFET_3_A_H_Pin
                          |FREN_Pin;
  GPIO_InitStruct.Mode = GPIO_MODE_OUTPUT_PP;
  GPIO_InitStruct.Pull = GPIO_NOPULL;
  GPIO_InitStruct.Speed = GPIO_SPEED_FREQ_LOW;
  HAL_GPIO_Init(GPIOB, &GPIO_InitStruct);

  /*Configure GPIO pin : PB3 */
  GPIO_InitStruct.Pin = GPIO_PIN_3;
  GPIO_InitStruct.Mode = GPIO_MODE_IT_RISING;
  GPIO_InitStruct.Pull = GPIO_NOPULL;
  HAL_GPIO_Init(GPIOB, &GPIO_InitStruct);

}

void Error_Handler(void)
{
  __disable_irq();
  while (1)
  {
  }
}
